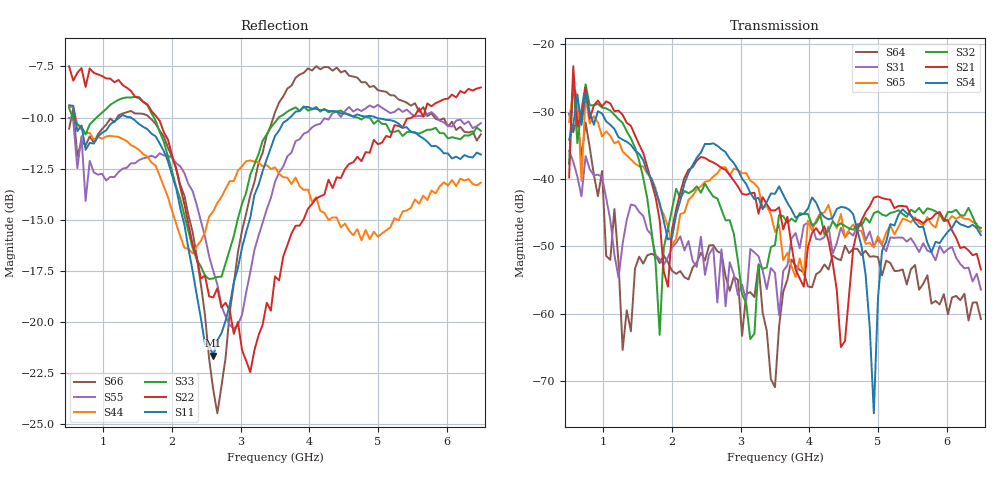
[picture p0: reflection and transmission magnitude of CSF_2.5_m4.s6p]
!Keysight Technologies,M9804A,MY58100912,A.14.10.03
!Date: Thursday, April 27, 2023 10:28:33
!Correction: S11(C  6-Port  )
!S12(C  6-Port  )
!S13(C  6-Port  )
!S14(C  6-Port  )
!S15(C  6-Port  )
!S16(C  6-Port  )
!S21(C  6-Port  )
!S22(C  6-Port  )
!S23(C  6-Port  )
!S24(C  6-Port  )
!S25(C  6-Port  )
!S26(C  6-Port  )
!S31(C  6-Port  )
!S32(C  6-Port  )
!S33(C  6-Port  )
!S34(C  6-Port  )
!S35(C  6-Port  )
!S36(C  6-Port  )
!S41(C  6-Port  )
!S42(C  6-Port  )
!S43(C  6-Port  )
!S44(C  6-Port  )
!S45(C  6-Port  )
!S46(C  6-Port  )
!S51(C  6-Port  )
!S52(C  6-Port  )
!S53(C  6-Port  )
!S54(C  6-Port  )
!S55(C  6-Port  )
!S56(C  6-Port  )
!S61(C  6-Port  )
!S62(C  6-Port  )
!S63(C  6-Port  )
!S64(C  6-Port  )
!S65(C  6-Port  )
!S66(C  6-Port  )
!S6P File: Measurement: :
# Hz S  RI  R 50
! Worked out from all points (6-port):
!   101 points, 500 MHz to 6.5 GHz, reference 50 ohm
!   strongest paths, dB at 500 MHz, 2 GHz, 3.5 GHz, 5 GHz, 6.5 GHz:
!     S54: -34.2, -48.7, -42.2, -57.8, -48.3
!     S21: -39.8, -47.5, -44.7, -42.6, -53.4
!     S32: -37.7, -44.5, -49.8, -44.8, -47.2
!     S65: -31.5, -49.8, -47.8, -48.5, -47.8
!     S31: -35.8, -50.2, -53.9, -48.9, -56.4
!     S64: -30.3, -53.6, -70.9, -51.6, -60.8
!   lowest |S11| = -21.7 dB at 2.6 GHz (marker M1), VSWR 1.18, Z = 42.6 + j2.05 ohm
!   |S11| at or under -10 dB: 587.7 MHz to 1.233 GHz (645 MHz wide, 70.9 % of centre); 1.402 GHz to 3.718 GHz (2.316 GHz wide, 90.5 % of centre); 4.971 GHz to end of sweep
